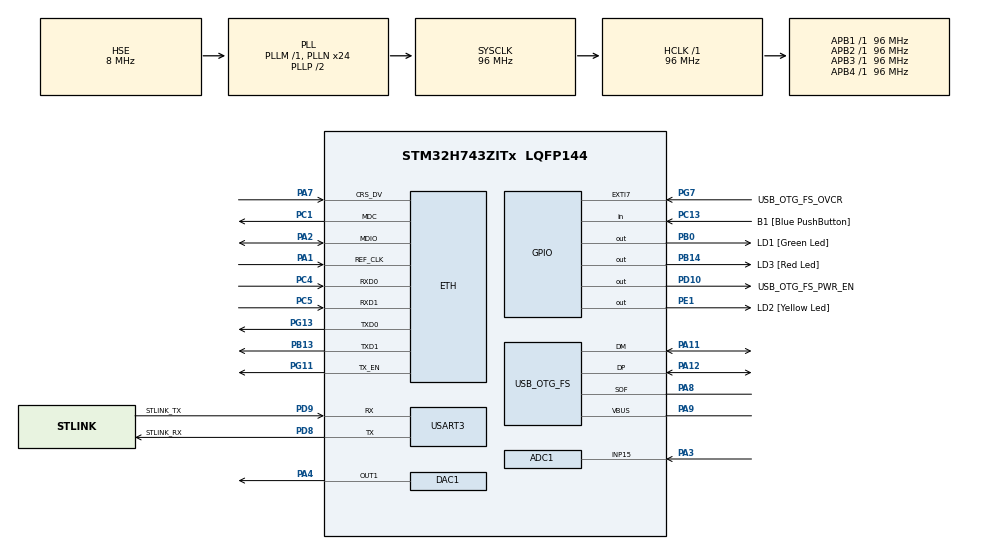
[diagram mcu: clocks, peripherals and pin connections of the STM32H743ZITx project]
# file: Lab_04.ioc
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ADC1.Channel-0\#ChannelRegularConversion=ADC_CHANNEL_15
ADC1.ConversionDataManagement=ADC_CONVERSIONDATA_DMA_ONESHOT
ADC1.ExternalTrigConv=ADC_EXTERNALTRIG_T1_TRGO
ADC1.NbrOfConversionFlag=1
ADC1.OffsetNumber-0\#ChannelRegularConversion=ADC_OFFSET_NONE
ADC1.OffsetSignedSaturation-0\#ChannelRegularConversion=DISABLE
ADC1.Rank-0\#ChannelRegularConversion=1
ADC1.Resolution=ADC_RESOLUTION_12B
ADC1.SamplingTime-0\#ChannelRegularConversion=ADC_SAMPLETIME_1CYCLE_5
ADC1.master=1
DAC1.DAC_Trigger-DAC_OUT1=DAC_TRIGGER_T1_TRGO
Dma.ADC1.0.Direction=DMA_PERIPH_TO_MEMORY
Dma.ADC1.0.EventEnable=DISABLE
Dma.ADC1.0.FIFOMode=DMA_FIFOMODE_DISABLE
Dma.ADC1.0.Instance=DMA1_Stream0
Dma.ADC1.0.MemDataAlignment=DMA_MDATAALIGN_HALFWORD
Dma.ADC1.0.MemInc=DMA_MINC_ENABLE
Dma.ADC1.0.Mode=DMA_NORMAL
Dma.ADC1.0.PeriphDataAlignment=DMA_PDATAALIGN_HALFWORD
Dma.ADC1.0.PeriphInc=DMA_PINC_DISABLE
Dma.ADC1.0.Polarity=HAL_DMAMUX_REQ_GEN_RISING
Dma.ADC1.0.Priority=DMA_PRIORITY_LOW
Dma.ADC1.0.RequestNumber=1
Dma.ADC1.0.SignalID=NONE
Dma.ADC1.0.SyncEnable=DISABLE
Dma.ADC1.0.SyncPolarity=HAL_DMAMUX_SYNC_NO_EVENT
Dma.ADC1.0.SyncRequestNumber=1
Dma.ADC1.0.SyncSignalID=NONE
Dma.DAC1_CH1.1.Direction=DMA_MEMORY_TO_PERIPH
Dma.DAC1_CH1.1.EventEnable=DISABLE
Dma.DAC1_CH1.1.FIFOMode=DMA_FIFOMODE_DISABLE
Dma.DAC1_CH1.1.Instance=DMA1_Stream1
Dma.DAC1_CH1.1.MemDataAlignment=DMA_MDATAALIGN_HALFWORD
Dma.DAC1_CH1.1.MemInc=DMA_MINC_ENABLE
Dma.DAC1_CH1.1.Mode=DMA_CIRCULAR
Dma.DAC1_CH1.1.PeriphDataAlignment=DMA_PDATAALIGN_HALFWORD
Dma.DAC1_CH1.1.PeriphInc=DMA_PINC_DISABLE
Dma.DAC1_CH1.1.Polarity=HAL_DMAMUX_REQ_GEN_RISING
Dma.DAC1_CH1.1.Priority=DMA_PRIORITY_LOW
Dma.DAC1_CH1.1.RequestNumber=1
Dma.DAC1_CH1.1.SignalID=NONE
Dma.DAC1_CH1.1.SyncEnable=DISABLE
Dma.DAC1_CH1.1.SyncPolarity=HAL_DMAMUX_SYNC_NO_EVENT
Dma.DAC1_CH1.1.SyncRequestNumber=1
Dma.DAC1_CH1.1.SyncSignalID=NONE
Dma.Request0=ADC1
Dma.Request1=DAC1_CH1
ETH.MediaInterface=HAL_ETH_RMII_MODE
Mcu.Family=STM32H7
Mcu.Name=STM32H743ZITx
Mcu.Package=LQFP144
NVIC.DMA1_Stream0_IRQn=true\:0\:0\:false\:false\:true\:false\:true
NVIC.DMA1_Stream1_IRQn=true\:0\:0\:false\:false\:true\:false\:true
NVIC.PriorityGroup=NVIC_PRIORITYGROUP_4
PA1.Mode=RMII
PA1.Signal=ETH_REF_CLK
PA11.Mode=Device_Only
PA11.Signal=USB_OTG_FS_DM
PA12.Mode=Device_Only
PA12.Signal=USB_OTG_FS_DP
PA2.Mode=RMII
PA2.Signal=ETH_MDIO
PA3.Signal=ADCx_INP15
PA4.Signal=COMP_DAC11_group
PA7.Mode=RMII
PA7.Signal=ETH_CRS_DV
PA8.Mode=Activate_SOF_FS
PA8.Signal=USB_OTG_FS_SOF
PA9.Mode=Activate_VBUS
PA9.Signal=USB_OTG_FS_VBUS
PB0.GPIO_Label=LD1 [Green Led]
PB0.Signal=GPIO_Output
PB13.Mode=RMII
PB13.Signal=ETH_TXD1
PB14.GPIO_Label=LD3 [Red Led]
PB14.Signal=GPIO_Output
PC1.Mode=RMII
PC1.Signal=ETH_MDC
PC13.GPIO_Label=B1 [Blue PushButton]
PC13.Signal=GPIO_Input
PC14-OSC32_IN\ (OSC32_IN).Mode=LSE-External-Oscillator
PC14-OSC32_IN\ (OSC32_IN).Signal=RCC_OSC32_IN
PC15-OSC32_OUT\ (OSC32_OUT).Mode=LSE-External-Oscillator
PC15-OSC32_OUT\ (OSC32_OUT).Signal=RCC_OSC32_OUT
PC4.Mode=RMII
PC4.Signal=ETH_RXD0
PC5.Mode=RMII
PC5.Signal=ETH_RXD1
PD10.GPIO_Label=USB_OTG_FS_PWR_EN
PD10.Signal=GPIO_Output
PD8.GPIO_Label=STLINK_RX
PD8.Mode=Asynchronous
PD8.Signal=USART3_TX
PD9.GPIO_Label=STLINK_TX
PD9.Mode=Asynchronous
PD9.Signal=USART3_RX
PE1.GPIO_Label=LD2 [Yellow Led]
PE1.Signal=GPIO_Output
PG11.Mode=RMII
PG11.Signal=ETH_TX_EN
PG13.Mode=RMII
PG13.Signal=ETH_TXD0
PG7.GPIO_Label=USB_OTG_FS_OVCR
PG7.Signal=GPXTI7
PH0-OSC_IN\ (PH0).Mode=HSE-External-Clock-Source
PH0-OSC_IN\ (PH0).Signal=RCC_OSC_IN
PH1-OSC_OUT\ (PH1).Signal=RCC_OSC_OUT
ProjectManager.HeapSize=0x200
ProjectManager.StackSize=0x400
ProjectManager.TargetToolchain=STM32CubeIDE
RCC.ADCFreq_Value=50666666.666666664
RCC.APB1Freq_Value=96000000
RCC.APB2Freq_Value=96000000
RCC.APB3Freq_Value=96000000
RCC.APB4Freq_Value=96000000
RCC.CortexFreq_Value=96000000
RCC.DIVM1=1
RCC.DIVM2=1
RCC.DIVN1=24
RCC.DIVN2=19
RCC.DIVP2=3
RCC.DIVQ1=4
RCC.HCLKFreq_Value=96000000
RCC.HSE_VALUE=8000000
RCC.PLLFRACN=0
RCC.SYSCLKFreq_VALUE=96000000
RCC.SYSCLKSource=RCC_SYSCLKSOURCE_PLLCLK
RCC.USBFreq_Value=48000000
SH.ADCx_INP15.0=ADC1_INP15,IN15-Single-Ended
SH.COMP_DAC11_group.0=DAC1_OUT1,DAC_OUT1
TIM1.Period=2000-1
TIM1.TIM_MasterOutputTrigger=TIM_TRGO_UPDATE
USART3.VirtualMode-Asynchronous=VM_ASYNC
USB_OTG_FS.VirtualMode=Device_Only
VP_TIM1_VS_ClockSourceINT.Mode=Internal
board=NUCLEO-H743ZI2

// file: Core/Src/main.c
/* USER CODE BEGIN Header */
/**
  ******************************************************************************
  * @file           : main.c
  * @brief          : Main program body
  ******************************************************************************
  * @attention
  *
  * <h2><center>&copy; Copyright (c) 2020 STMicroelectronics.
  * All rights reserved.</center></h2>
  *
  * This software component is licensed by ST under BSD 3-Clause license,
  * the "License"; You may not use this file except in compliance with the
  * License. You may obtain a copy of the License at:
  *                        opensource.org/licenses/BSD-3-Clause
  *
  ******************************************************************************
  */
/* USER CODE END Header */
#include <math.h>
#include "main.h"
#include "string.h"

#if defined ( __ICCARM__ ) /*!< IAR Compiler */

#pragma location=0x30040000
ETH_DMADescTypeDef  DMARxDscrTab[ETH_RX_DESC_CNT]; /* Ethernet Rx DMA Descriptors */
#pragma location=0x30040060
ETH_DMADescTypeDef  DMATxDscrTab[ETH_TX_DESC_CNT]; /* Ethernet Tx DMA Descriptors */
#pragma location=0x30040200
uint8_t Rx_Buff[ETH_RX_DESC_CNT][ETH_MAX_PACKET_SIZE]; /* Ethernet Receive Buffers */

#elif defined ( __CC_ARM )  /* MDK ARM Compiler */

__attribute__((at(0x30040000))) ETH_DMADescTypeDef  DMARxDscrTab[ETH_RX_DESC_CNT]; /* Ethernet Rx DMA Descriptors */
__attribute__((at(0x30040060))) ETH_DMADescTypeDef  DMATxDscrTab[ETH_TX_DESC_CNT]; /* Ethernet Tx DMA Descriptors */
__attribute__((at(0x30040200))) uint8_t Rx_Buff[ETH_RX_DESC_CNT][ETH_MAX_PACKET_SIZE]; /* Ethernet Receive Buffer */

#elif defined ( __GNUC__ ) /* GNU Compiler */

ETH_DMADescTypeDef DMARxDscrTab[ETH_RX_DESC_CNT] __attribute__((section(".RxDecripSection"))); /* Ethernet Rx DMA Descriptors */
ETH_DMADescTypeDef DMATxDscrTab[ETH_TX_DESC_CNT] __attribute__((section(".TxDecripSection")));   /* Ethernet Tx DMA Descriptors */
uint8_t Rx_Buff[ETH_RX_DESC_CNT][ETH_MAX_PACKET_SIZE] __attribute__((section(".RxArraySection"))); /* Ethernet Receive Buffers */

#endif

ETH_TxPacketConfig TxConfig;
ADC_HandleTypeDef hadc1;
DMA_HandleTypeDef hdma_adc1;

DAC_HandleTypeDef hdac1;
DMA_HandleTypeDef hdma_dac1_ch1;

ETH_HandleTypeDef heth;

TIM_HandleTypeDef htim1;

UART_HandleTypeDef huart3;

PCD_HandleTypeDef hpcd_USB_OTG_FS;

void SystemClock_Config(void);
static void MX_GPIO_Init(void);
static void MX_DMA_Init(void);
static void MX_ETH_Init(void);
static void MX_USART3_UART_Init(void);
static void MX_USB_OTG_FS_PCD_Init(void);
static void MX_ADC1_Init(void);
static void MX_DAC1_Init(void);
static void MX_TIM1_Init(void);

/* USER CODE BEGIN 0 */
#define ADC_BUF_SIZE 1024
uint16_t ADC_buff[ADC_BUF_SIZE];
uint16_t OUT_buff[ADC_BUF_SIZE];

int record_done = 0;
int play_done = 0;
int mag_print = 0;

// Second-Order LPF Parameters
#define NUM_SECTIONS 3 // define number of sections

// Use values obtained from Matlab Filter Design Tool
float b[NUM_SECTIONS][3]={ {1.0, 2.0, 1.0} , {1.0, 2.0, 1.0} , {1.0, 1.0, 0.0}};
float a[NUM_SECTIONS][2]={ {-1.8835, 0.9072} , {-1.7520, 0.7741}, {-0.8532,0.0} };
float G[NUM_SECTIONS] = {0.0059, 0.0055, 0.0734};
float w[NUM_SECTIONS][2] = {{0.0,0.0},{0.0,0.0},{0.0,0.0}};

uint16_t output_array[ADC_BUF_SIZE];

// For the use of IIR part only
void iirsos(uint16_t input_array[]){
	float wn = 0;
	float yn = 0;
	for(int i = 0; i<ADC_BUF_SIZE; i++){
		uint16_t input = input_array[i];   // intermediate and output values in each stage
		for (int section=0 ; section<NUM_SECTIONS; section++){
			wn = (float)input - a[section][0]*w[section][0] - a[section][1]*w[section][1];
			yn = (b[section][0]*wn + b[section][1]*w[section][0] + b[section][2]*w[section][1]); //a[section][0];
			w[section][1] = w[section][0];
			w[section][0] = wn;
			yn = G[section]*yn;
			input = (uint16_t)yn;              // output of current section will be input to next
		}
		output_array[i] = (uint16_t)yn;
	}
}
/* USER CODE END 0 */

int main(void)
{

  /* MCU Configuration--------------------------------------------------------*/

  /* Reset of all peripherals, Initializes the Flash interface and the Systick. */
  HAL_Init();

  /* Configure the system clock */
  SystemClock_Config();

  /* Initialize all configured peripherals */
  MX_GPIO_Init();
  MX_DMA_Init();
  MX_ETH_Init();
  MX_USART3_UART_Init();
  MX_USB_OTG_FS_PCD_Init();
  MX_ADC1_Init();
  MX_DAC1_Init();
  MX_TIM1_Init();
  /* USER CODE BEGIN 2 */
  if(HAL_ADCEx_Calibration_Start(&hadc1, ADC_CALIB_OFFSET,ADC_SINGLE_ENDED) != HAL_OK){
	  Error_Handler();
  }
  HAL_TIM_Base_Start(&htim1);
  /* USER CODE END 2 */

  /* Infinite loop */
  while (1)
  {

    /* USER CODE BEGIN 3 */
  	HAL_Delay(500);
  	if(HAL_ADC_Start_DMA(&hadc1, (uint32_t *)&ADC_buff, ADC_BUF_SIZE) != HAL_OK){
  		Error_Handler();
  	}
  	record_done = 0;
  	// Wait for recording to complete
  	while(record_done == 0){
  	}

	  //TODO: Do some digital filtering here
	  //Yeah, you get your output array ready here
  	/*
  	float delt		=	1/48e3;
  	float fActual = 20e3;
  	float fCutOff = 48e3/M_PI*tan(M_PI/48e3*fActual);
	  float RC 			= 1.f/2/M_PI/fCutOff;
	  float c1 			= 1.f+2.f*RC/delt;
	  float c2 			= 1.f-2.f*RC/delt;

	  OUT_buff[0] = 0;
	  for (int i=1; i<ADC_BUF_SIZE; i++)
	  {
	  	OUT_buff[i] = (1/c1) * (-1*c2*OUT_buff[i-1] + ADC_buff[i] + ADC_buff[i-1]);
	  }
		*/

  	iirsos(ADC_buff);

	  // Start output your processed array in a circular manner, so it never stops on its own.
	  if(HAL_DAC_Start_DMA(&hdac1, DAC_CHANNEL_1, output_array, ADC_BUF_SIZE, DAC_ALIGN_12B_R) != HAL_OK){
		  Error_Handler();
	  }

	  // Add a breakpoint here
	  // Resume running when you are ready for the next input
	  HAL_Delay(500);

	  //Stop the current output
	  if(HAL_DAC_Stop_DMA(&hdac1, DAC_CHANNEL_1) != HAL_OK){
		  Error_Handler();
	  }
  }
  /* USER CODE END 3 */
}

void SystemClock_Config(void)
{
  RCC_OscInitTypeDef RCC_OscInitStruct = {0};
  RCC_ClkInitTypeDef RCC_ClkInitStruct = {0};
  RCC_PeriphCLKInitTypeDef PeriphClkInitStruct = {0};

  /** Supply configuration update enable
  */
  HAL_PWREx_ConfigSupply(PWR_LDO_SUPPLY);
  /** Configure the main internal regulator output voltage
  */
  __HAL_PWR_VOLTAGESCALING_CONFIG(PWR_REGULATOR_VOLTAGE_SCALE3);

  while(!__HAL_PWR_GET_FLAG(PWR_FLAG_VOSRDY)) {}
  /** Macro to configure the PLL clock source
  */
  __HAL_RCC_PLL_PLLSOURCE_CONFIG(RCC_PLLSOURCE_HSE);
  /** Initializes the RCC Oscillators according to the specified parameters
  * in the RCC_OscInitTypeDef structure.
  */
  RCC_OscInitStruct.OscillatorType = RCC_OSCILLATORTYPE_HSE;
  RCC_OscInitStruct.HSEState = RCC_HSE_BYPASS;
  RCC_OscInitStruct.PLL.PLLState = RCC_PLL_ON;
  RCC_OscInitStruct.PLL.PLLSource = RCC_PLLSOURCE_HSE;
  RCC_OscInitStruct.PLL.PLLM = 1;
  RCC_OscInitStruct.PLL.PLLN = 24;
  RCC_OscInitStruct.PLL.PLLP = 2;
  RCC_OscInitStruct.PLL.PLLQ = 4;
  RCC_OscInitStruct.PLL.PLLR = 2;
  RCC_OscInitStruct.PLL.PLLRGE = RCC_PLL1VCIRANGE_3;
  RCC_OscInitStruct.PLL.PLLVCOSEL = RCC_PLL1VCOWIDE;
  RCC_OscInitStruct.PLL.PLLFRACN = 0;
  if (HAL_RCC_OscConfig(&RCC_OscInitStruct) != HAL_OK)
  {
    Error_Handler();
  }
  /** Initializes the CPU, AHB and APB buses clocks
  */
  RCC_ClkInitStruct.ClockType = RCC_CLOCKTYPE_HCLK|RCC_CLOCKTYPE_SYSCLK
                              |RCC_CLOCKTYPE_PCLK1|RCC_CLOCKTYPE_PCLK2
                              |RCC_CLOCKTYPE_D3PCLK1|RCC_CLOCKTYPE_D1PCLK1;
  RCC_ClkInitStruct.SYSCLKSource = RCC_SYSCLKSOURCE_PLLCLK;
  RCC_ClkInitStruct.SYSCLKDivider = RCC_SYSCLK_DIV1;
  RCC_ClkInitStruct.AHBCLKDivider = RCC_HCLK_DIV1;
  RCC_ClkInitStruct.APB3CLKDivider = RCC_APB3_DIV1;
  RCC_ClkInitStruct.APB1CLKDivider = RCC_APB1_DIV1;
  RCC_ClkInitStruct.APB2CLKDivider = RCC_APB2_DIV1;
  RCC_ClkInitStruct.APB4CLKDivider = RCC_APB4_DIV1;

  if (HAL_RCC_ClockConfig(&RCC_ClkInitStruct, FLASH_LATENCY_1) != HAL_OK)
  {
    Error_Handler();
  }
  PeriphClkInitStruct.PeriphClockSelection = RCC_PERIPHCLK_USART3|RCC_PERIPHCLK_ADC
                              |RCC_PERIPHCLK_USB;
  PeriphClkInitStruct.PLL2.PLL2M = 1;
  PeriphClkInitStruct.PLL2.PLL2N = 19;
  PeriphClkInitStruct.PLL2.PLL2P = 3;
  PeriphClkInitStruct.PLL2.PLL2Q = 2;
  PeriphClkInitStruct.PLL2.PLL2R = 2;
  PeriphClkInitStruct.PLL2.PLL2RGE = RCC_PLL2VCIRANGE_3;
  PeriphClkInitStruct.PLL2.PLL2VCOSEL = RCC_PLL2VCOMEDIUM;
  PeriphClkInitStruct.PLL2.PLL2FRACN = 0;
  PeriphClkInitStruct.Usart234578ClockSelection = RCC_USART234578CLKSOURCE_D2PCLK1;
  PeriphClkInitStruct.UsbClockSelection = RCC_USBCLKSOURCE_PLL;
  PeriphClkInitStruct.AdcClockSelection = RCC_ADCCLKSOURCE_PLL2;
  if (HAL_RCCEx_PeriphCLKConfig(&PeriphClkInitStruct) != HAL_OK)
  {
    Error_Handler();
  }
  /** Enable USB Voltage detector
  */
  HAL_PWREx_EnableUSBVoltageDetector();
}

static void MX_ADC1_Init(void)
{

  ADC_MultiModeTypeDef multimode = {0};
  ADC_ChannelConfTypeDef sConfig = {0};

  /** Common config
  */
  hadc1.Instance = ADC1;
  hadc1.Init.ClockPrescaler = ADC_CLOCK_ASYNC_DIV1;
  hadc1.Init.Resolution = ADC_RESOLUTION_12B;
  hadc1.Init.ScanConvMode = ADC_SCAN_DISABLE;
  hadc1.Init.EOCSelection = ADC_EOC_SINGLE_CONV;
  hadc1.Init.LowPowerAutoWait = DISABLE;
  hadc1.Init.ContinuousConvMode = DISABLE;
  hadc1.Init.NbrOfConversion = 1;
  hadc1.Init.DiscontinuousConvMode = DISABLE;
  hadc1.Init.ExternalTrigConv = ADC_EXTERNALTRIG_T1_TRGO;
  hadc1.Init.ExternalTrigConvEdge = ADC_EXTERNALTRIGCONVEDGE_RISING;
  hadc1.Init.ConversionDataManagement = ADC_CONVERSIONDATA_DMA_ONESHOT;
  hadc1.Init.Overrun = ADC_OVR_DATA_PRESERVED;
  hadc1.Init.LeftBitShift = ADC_LEFTBITSHIFT_NONE;
  hadc1.Init.OversamplingMode = DISABLE;
  if (HAL_ADC_Init(&hadc1) != HAL_OK)
  {
    Error_Handler();
  }
  /** Configure the ADC multi-mode
  */
  multimode.Mode = ADC_MODE_INDEPENDENT;
  if (HAL_ADCEx_MultiModeConfigChannel(&hadc1, &multimode) != HAL_OK)
  {
    Error_Handler();
  }
  /** Configure Regular Channel
  */
  sConfig.Channel = ADC_CHANNEL_15;
  sConfig.Rank = ADC_REGULAR_RANK_1;
  sConfig.SamplingTime = ADC_SAMPLETIME_1CYCLE_5;
  sConfig.SingleDiff = ADC_SINGLE_ENDED;
  sConfig.OffsetNumber = ADC_OFFSET_NONE;
  sConfig.Offset = 0;
  sConfig.OffsetSignedSaturation = DISABLE;
  if (HAL_ADC_ConfigChannel(&hadc1, &sConfig) != HAL_OK)
  {
    Error_Handler();
  }

}

static void MX_DAC1_Init(void)
{

  DAC_ChannelConfTypeDef sConfig = {0};

  /** DAC Initialization
  */
  hdac1.Instance = DAC1;
  if (HAL_DAC_Init(&hdac1) != HAL_OK)
  {
    Error_Handler();
  }
  /** DAC channel OUT1 config
  */
  sConfig.DAC_SampleAndHold = DAC_SAMPLEANDHOLD_DISABLE;
  sConfig.DAC_Trigger = DAC_TRIGGER_T1_TRGO;
  sConfig.DAC_OutputBuffer = DAC_OUTPUTBUFFER_ENABLE;
  sConfig.DAC_ConnectOnChipPeripheral = DAC_CHIPCONNECT_DISABLE;
  sConfig.DAC_UserTrimming = DAC_TRIMMING_FACTORY;
  if (HAL_DAC_ConfigChannel(&hdac1, &sConfig, DAC_CHANNEL_1) != HAL_OK)
  {
    Error_Handler();
  }

}

static void MX_ETH_Init(void)
{

  heth.Instance = ETH;
  heth.Init.MACAddr[0] =   0x00;
  heth.Init.MACAddr[1] =   0x80;
  heth.Init.MACAddr[2] =   0xE1;
  heth.Init.MACAddr[3] =   0x00;
  heth.Init.MACAddr[4] =   0x00;
  heth.Init.MACAddr[5] =   0x00;
  heth.Init.MediaInterface = HAL_ETH_RMII_MODE;
  heth.Init.TxDesc = DMATxDscrTab;
  heth.Init.RxDesc = DMARxDscrTab;
  heth.Init.RxBuffLen = 1524;

  if (HAL_ETH_Init(&heth) != HAL_OK)
  {
    Error_Handler();
  }

  memset(&TxConfig, 0 , sizeof(ETH_TxPacketConfig));
  TxConfig.Attributes = ETH_TX_PACKETS_FEATURES_CSUM | ETH_TX_PACKETS_FEATURES_CRCPAD;
  TxConfig.ChecksumCtrl = ETH_CHECKSUM_IPHDR_PAYLOAD_INSERT_PHDR_CALC;
  TxConfig.CRCPadCtrl = ETH_CRC_PAD_INSERT;

}

static void MX_TIM1_Init(void)
{

  TIM_ClockConfigTypeDef sClockSourceConfig = {0};
  TIM_MasterConfigTypeDef sMasterConfig = {0};

  htim1.Instance = TIM1;
  htim1.Init.Prescaler = 0;
  htim1.Init.CounterMode = TIM_COUNTERMODE_UP;
  htim1.Init.Period = 2000-1;
  htim1.Init.ClockDivision = TIM_CLOCKDIVISION_DIV1;
  htim1.Init.RepetitionCounter = 0;
  htim1.Init.AutoReloadPreload = TIM_AUTORELOAD_PRELOAD_DISABLE;
  if (HAL_TIM_Base_Init(&htim1) != HAL_OK)
  {
    Error_Handler();
  }
  sClockSourceConfig.ClockSource = TIM_CLOCKSOURCE_INTERNAL;
  if (HAL_TIM_ConfigClockSource(&htim1, &sClockSourceConfig) != HAL_OK)
  {
    Error_Handler();
  }
  sMasterConfig.MasterOutputTrigger = TIM_TRGO_UPDATE;
  sMasterConfig.MasterOutputTrigger2 = TIM_TRGO2_RESET;
  sMasterConfig.MasterSlaveMode = TIM_MASTERSLAVEMODE_DISABLE;
  if (HAL_TIMEx_MasterConfigSynchronization(&htim1, &sMasterConfig) != HAL_OK)
  {
    Error_Handler();
  }

}

static void MX_USART3_UART_Init(void)
{

  huart3.Instance = USART3;
  huart3.Init.BaudRate = 115200;
  huart3.Init.WordLength = UART_WORDLENGTH_8B;
  huart3.Init.StopBits = UART_STOPBITS_1;
  huart3.Init.Parity = UART_PARITY_NONE;
  huart3.Init.Mode = UART_MODE_TX_RX;
  huart3.Init.HwFlowCtl = UART_HWCONTROL_NONE;
  huart3.Init.OverSampling = UART_OVERSAMPLING_16;
  huart3.Init.OneBitSampling = UART_ONE_BIT_SAMPLE_DISABLE;
  huart3.Init.ClockPrescaler = UART_PRESCALER_DIV1;
  huart3.AdvancedInit.AdvFeatureInit = UART_ADVFEATURE_NO_INIT;
  if (HAL_UART_Init(&huart3) != HAL_OK)
  {
    Error_Handler();
  }
  if (HAL_UARTEx_SetTxFifoThreshold(&huart3, UART_TXFIFO_THRESHOLD_1_8) != HAL_OK)
  {
    Error_Handler();
  }
  if (HAL_UARTEx_SetRxFifoThreshold(&huart3, UART_RXFIFO_THRESHOLD_1_8) != HAL_OK)
  {
    Error_Handler();
  }
  if (HAL_UARTEx_DisableFifoMode(&huart3) != HAL_OK)
  {
    Error_Handler();
  }

}

static void MX_USB_OTG_FS_PCD_Init(void)
{

  hpcd_USB_OTG_FS.Instance = USB_OTG_FS;
  hpcd_USB_OTG_FS.Init.dev_endpoints = 9;
  hpcd_USB_OTG_FS.Init.speed = PCD_SPEED_FULL;
  hpcd_USB_OTG_FS.Init.dma_enable = DISABLE;
  hpcd_USB_OTG_FS.Init.phy_itface = PCD_PHY_EMBEDDED;
  hpcd_USB_OTG_FS.Init.Sof_enable = ENABLE;
  hpcd_USB_OTG_FS.Init.low_power_enable = DISABLE;
  hpcd_USB_OTG_FS.Init.lpm_enable = DISABLE;
  hpcd_USB_OTG_FS.Init.battery_charging_enable = ENABLE;
  hpcd_USB_OTG_FS.Init.vbus_sensing_enable = ENABLE;
  hpcd_USB_OTG_FS.Init.use_dedicated_ep1 = DISABLE;
  if (HAL_PCD_Init(&hpcd_USB_OTG_FS) != HAL_OK)
  {
    Error_Handler();
  }

}

static void MX_DMA_Init(void)
{

  /* DMA controller clock enable */
  __HAL_RCC_DMA1_CLK_ENABLE();

  /* DMA interrupt init */
  /* DMA1_Stream0_IRQn interrupt configuration */
  HAL_NVIC_SetPriority(DMA1_Stream0_IRQn, 0, 0);
  HAL_NVIC_EnableIRQ(DMA1_Stream0_IRQn);
  /* DMA1_Stream1_IRQn interrupt configuration */
  HAL_NVIC_SetPriority(DMA1_Stream1_IRQn, 0, 0);
  HAL_NVIC_EnableIRQ(DMA1_Stream1_IRQn);

}

static void MX_GPIO_Init(void)
{
  GPIO_InitTypeDef GPIO_InitStruct = {0};

  /* GPIO Ports Clock Enable */
  __HAL_RCC_GPIOC_CLK_ENABLE();
  __HAL_RCC_GPIOH_CLK_ENABLE();
  __HAL_RCC_GPIOA_CLK_ENABLE();
  __HAL_RCC_GPIOB_CLK_ENABLE();
  __HAL_RCC_GPIOD_CLK_ENABLE();
  __HAL_RCC_GPIOG_CLK_ENABLE();
  __HAL_RCC_GPIOE_CLK_ENABLE();

  /*Configure GPIO pin Output Level */
  HAL_GPIO_WritePin(GPIOB, LD1_Pin|LD3_Pin, GPIO_PIN_RESET);

  /*Configure GPIO pin Output Level */
  HAL_GPIO_WritePin(USB_OTG_FS_PWR_EN_GPIO_Port, USB_OTG_FS_PWR_EN_Pin, GPIO_PIN_RESET);

  /*Configure GPIO pin Output Level */
  HAL_GPIO_WritePin(LD2_GPIO_Port, LD2_Pin, GPIO_PIN_RESET);

  /*Configure GPIO pin : B1_Pin */
  GPIO_InitStruct.Pin = B1_Pin;
  GPIO_InitStruct.Mode = GPIO_MODE_INPUT;
  GPIO_InitStruct.Pull = GPIO_NOPULL;
  HAL_GPIO_Init(B1_GPIO_Port, &GPIO_InitStruct);

  /*Configure GPIO pins : LD1_Pin LD3_Pin */
  GPIO_InitStruct.Pin = LD1_Pin|LD3_Pin;
  GPIO_InitStruct.Mode = GPIO_MODE_OUTPUT_PP;
  GPIO_InitStruct.Pull = GPIO_NOPULL;
  GPIO_InitStruct.Speed = GPIO_SPEED_FREQ_LOW;
  HAL_GPIO_Init(GPIOB, &GPIO_InitStruct);

  /*Configure GPIO pin : USB_OTG_FS_PWR_EN_Pin */
  GPIO_InitStruct.Pin = USB_OTG_FS_PWR_EN_Pin;
  GPIO_InitStruct.Mode = GPIO_MODE_OUTPUT_PP;
  GPIO_InitStruct.Pull = GPIO_NOPULL;
  GPIO_InitStruct.Speed = GPIO_SPEED_FREQ_LOW;
  HAL_GPIO_Init(USB_OTG_FS_PWR_EN_GPIO_Port, &GPIO_InitStruct);

  /*Configure GPIO pin : USB_OTG_FS_OVCR_Pin */
  GPIO_InitStruct.Pin = USB_OTG_FS_OVCR_Pin;
  GPIO_InitStruct.Mode = GPIO_MODE_IT_RISING;
  GPIO_InitStruct.Pull = GPIO_NOPULL;
  HAL_GPIO_Init(USB_OTG_FS_OVCR_GPIO_Port, &GPIO_InitStruct);

  /*Configure GPIO pin : LD2_Pin */
  GPIO_InitStruct.Pin = LD2_Pin;
  GPIO_InitStruct.Mode = GPIO_MODE_OUTPUT_PP;
  GPIO_InitStruct.Pull = GPIO_NOPULL;
  GPIO_InitStruct.Speed = GPIO_SPEED_FREQ_LOW;
  HAL_GPIO_Init(LD2_GPIO_Port, &GPIO_InitStruct);

}

/* USER CODE BEGIN 4 */
void HAL_ADC_ConvCpltCallback(ADC_HandleTypeDef *hadc){
	if(HAL_ADC_Stop_DMA(&hadc1) != HAL_OK){
		Error_Handler();
	}
	record_done = 1;
}

void HAL_DAC_ConvCpltCallbackCh1(DAC_HandleTypeDef *hdac){
	play_done = 1;
}

int _write(int file, char *ptr, int len)
{
  /* Implement your write code here, this is used by puts and printf for example */
  int i=0;
  for(i=0 ; i<len ; i++)
    ITM_SendChar((*ptr++));
  return len;
}
/* USER CODE END 4 */

void Error_Handler(void)
{
  /* USER CODE BEGIN Error_Handler_Debug */
  /* User can add his own implementation to report the HAL error return state */
  HAL_GPIO_WritePin(GPIOB, LD3_Pin, GPIO_PIN_SET);
  /* USER CODE END Error_Handler_Debug */
}

/************************ (C) COPYRIGHT STMicroelectronics *****END OF FILE****/
